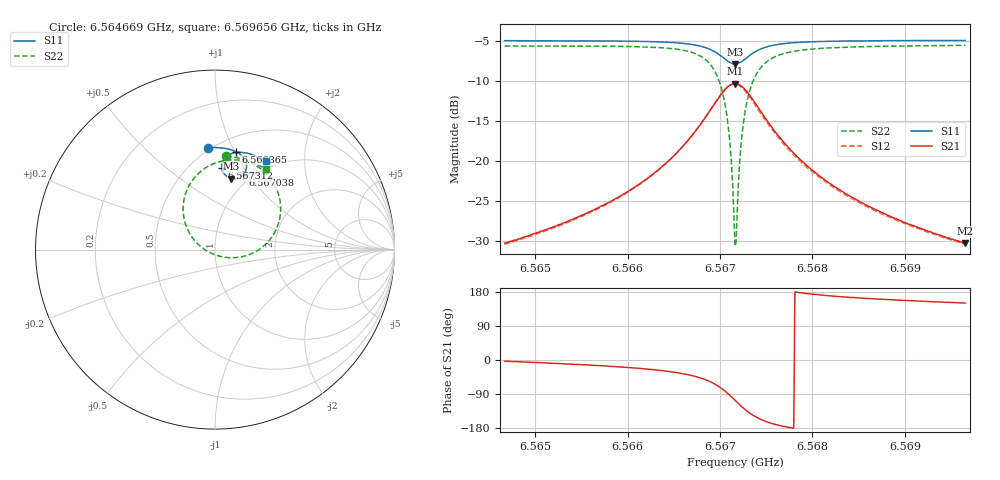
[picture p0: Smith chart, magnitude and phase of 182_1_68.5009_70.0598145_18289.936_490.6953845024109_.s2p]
#  HZ  S  RI  R  50.00
! Rohde & Schwarz Vector Network Analyzer
! Rohde-Schwarz,ZNB20-2Port,1311601062101988,3.16
! Created: UTC 3/20/2024, 5:11:52 PM
! freq[Hz]  re:S11  im:S11  re:S21  im:S21  re:S12  im:S12  re:S22  im:S22
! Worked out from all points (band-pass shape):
!   401 points, 6.564669 GHz to 6.569656 GHz, reference 50 ohm
!   highest |S21| = -10.28 dB at 6.567163 GHz (marker M1); lowest = -30.3 dB at 6.569656 GHz (marker M2)
!   |S21| within 3 dB of the highest: 6.566915 GHz to 6.567413 GHz (498 kHz wide, 0.00758 % of centre)
!   lowest |S11| = -7.8 dB at 6.567163 GHz (marker M3), VSWR 2.37, Z = 42.5 + j40.3 ohm
!   |S11| at or under -10 dB: nowhere
!   |S22| runs from -30.7 to -5.5 dB; largest |S21 - S12| = 0.015
!   S11 on the Smith chart (normalised r, x): 6.564669 GHz: 0.48, +0.81; 6.566365 GHz: 0.64, +1.01; 6.567038 GHz: 0.91, +0.94; 6.567312 GHz: 0.70, +0.80; 6.569656 GHz: 0.89, +1.31
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6.5646694e9  -0.0387 0.5678  0.0305 -0.00167  0.0299 -0.00204  0.0627 0.5225
6.5655046e9  0.031 0.5669  0.0446 -0.00964  0.0438 -0.0103  0.1453 0.5058
6.5663398e9  0.1124 0.5477  0.0791 -0.0404  0.0779 -0.0413  0.2656 0.441
6.5663648e9  0.1153 0.5463  0.0809 -0.0425  0.0796 -0.0434  0.2704 0.437
6.566639e9  0.149 0.5237  0.1037 -0.0809  0.1021 -0.0826  0.3311 0.3615
6.5668385e9  0.1722 0.4864  0.1159 -0.146  0.113 -0.149  0.3659 0.2361
6.5669507e9  0.1741 0.4498  0.1005 -0.2101  0.0949 -0.2142  0.3415 0.114
6.5670379e9  0.1566 0.4156  0.053 -0.2683  0.0431 -0.2714  0.2534 0.00607
6.5671003e9  0.1285 0.3975  -0.00932 -0.2967  -0.0223 -0.2961  0.1379 -0.042
6.5671252e9  0.1141 0.3942  -0.0393 -0.3001  -0.053 -0.2972  0.0833 -0.0453
6.5671501e9  0.0991 0.3942  -0.0706 -0.2974  -0.084 -0.2922  0.0277 -0.0374
6.5671626e9  0.0916 0.3955  -0.0859 -0.2939  -0.0992 -0.2874  0.000851 -0.0292
6.5671751e9  0.0844 0.3975  -0.1009 -0.2888  -0.1137 -0.2811  -0.0252 -0.0181
6.5671875e9  0.0772 0.4004  -0.115 -0.2824  -0.1273 -0.2735  -0.0495 -0.00474
6.5672249e9  0.059 0.413  -0.1523 -0.2553  -0.1618 -0.244  -0.1113 0.0477
6.5672499e9  0.05 0.424  -0.1711 -0.2334  -0.1786 -0.221  -0.1409 0.0891
6.5673122e9  0.0387 0.4537  -0.1969 -0.1746  -0.1993 -0.1622  -0.176 0.1957
6.5674119e9  0.0451 0.4937  -0.1939 -0.0976  -0.1918 -0.0883  -0.1576 0.3294
6.5675615e9  0.0728 0.5255  -0.1587 -0.0352  -0.1553 -0.0301  -0.082 0.4335
6.5679978e9  0.141 0.5421  -0.0871 0.00956  -0.0851 0.0109  0.0744 0.4987
6.5688331e9  0.2224 0.5238  -0.0423 0.0161  -0.0414 0.0164  0.2062 0.4834
6.5696558e9  0.2848 0.4946  -0.0265 0.0152  -0.0259 0.0153  0.2828 0.45
